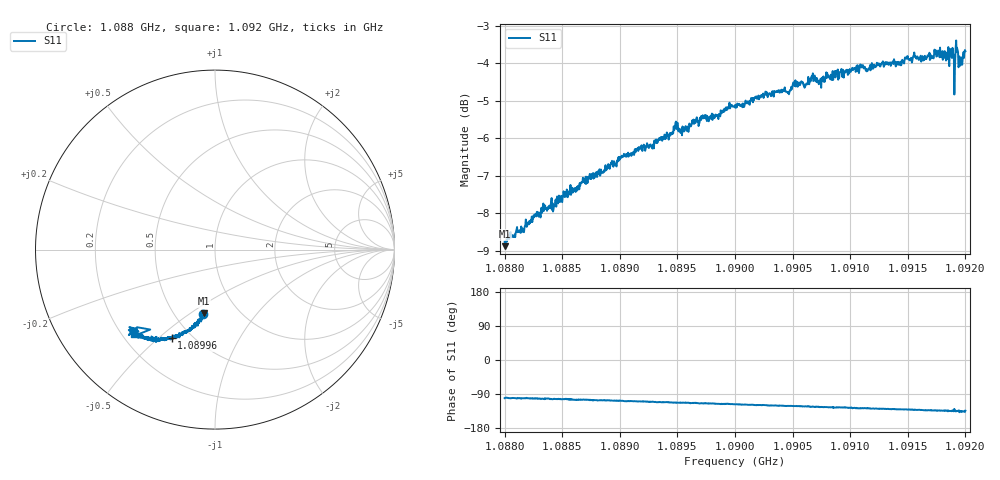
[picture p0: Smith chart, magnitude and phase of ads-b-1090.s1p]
! Calibrated averaged scanner-service zoom
# Hz S RI R 50
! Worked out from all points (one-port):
!   1001 points, 1.088 GHz to 1.092 GHz, reference 50 ohm
!   lowest |S11| = -8.9 dB at 1.088 GHz (marker M1), VSWR 2.13, Z = 34.8 - j28.4 ohm
!   |S11| at or under -10 dB: nowhere
!   S11 on the Smith chart (normalised r, x): 1.088 GHz: 0.68, -0.57; 1.08996 GHz: 0.39, -0.55; 1.092 GHz: 0.25, -0.41
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1.088e9  -0.0671 -0.3592
1.088004e9  -0.0604 -0.355
1.0885e9  -0.0988 -0.4002
1.089e9  -0.1356 -0.4494
1.089276e9  -0.1698 -0.4582
1.0895e9  -0.2016 -0.4856
1.08958e9  -0.2033 -0.4762
1.089652e9  -0.2089 -0.4857
1.08986e9  -0.235 -0.486
1.089956e9  -0.2408 -0.4937
1.09e9  -0.25 -0.4907
1.09026e9  -0.276 -0.5019
1.090456e9  -0.2988 -0.4932
1.0905e9  -0.3054 -0.5045
1.090672e9  -0.3303 -0.5056
1.091e9  -0.3653 -0.4945
1.091412e9  -0.406 -0.4794
1.0915e9  -0.4198 -0.4891
1.091652e9  -0.4354 -0.4678
1.091748e9  -0.4417 -0.4685
1.091824e9  -0.4453 -0.4609
1.091868e9  -0.4588 -0.4642
1.091892e9  -0.444 -0.4753
1.091908e9  -0.4349 -0.4324
1.091924e9  -0.4614 -0.4624
1.091932e9  -0.4611 -0.4681
1.09196e9  -0.4555 -0.4507
1.092e9  -0.4523 -0.4729
